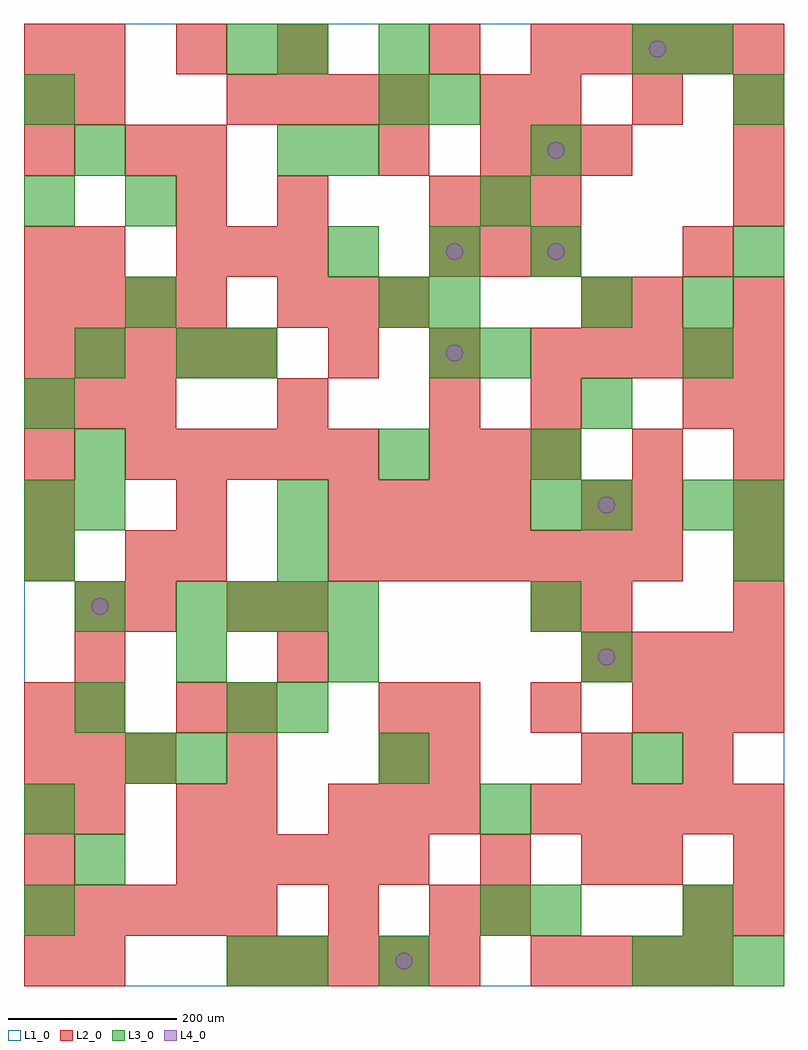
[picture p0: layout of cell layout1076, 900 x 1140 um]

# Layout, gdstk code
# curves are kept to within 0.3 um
import gdstk
lib = gdstk.Library(unit=1e-6, precision=1e-09)
def R(c, l, rs):  # rectangles x0, y0, x1, y1
    for r in rs: c.add(gdstk.rectangle(r[:2], r[2:], *l))
def A(c, l, x, y, w, h, nx, ny, dx, dy):  # array of equal rectangles
    R(c, l, [(x+i*dx, y+j*dy, x+i*dx+w, y+j*dy+h) for i in range(nx) for j in range(ny)])
def P(c, l, *ps):  # polygons
    for p in ps: c.add(gdstk.Polygon(p, *l))
L1_0 = (1, 0)
L2_0 = (2, 0)
L3_0 = (3, 0)
L4_0 = (4, 0)

layout1076 = lib.new_cell('layout1076')
R(layout1076, L1_0, [(0,0,900,1140)])
A(layout1076, L2_0, 240, 0, 60, 60, 5, 1, 60, 0)
A(layout1076, L2_0, 600, 0, 60, 60, 4, 1, 60, 0)
A(layout1076, L2_0, 0, 60, 60, 60, 5, 2, 60, 660)
A(layout1076, L2_0, 180, 120, 60, 60, 5, 1, 60, 0)
A(layout1076, L2_0, 240, 180, 60, 60, 1, 3, 0, 60)
A(layout1076, L2_0, 360, 180, 60, 60, 3, 1, 60, 0)
A(layout1076, L2_0, 600, 180, 60, 60, 5, 2, 60, 900)
A(layout1076, L2_0, 0, 240, 60, 60, 3, 2, 60, 420)
A(layout1076, L2_0, 480, 240, 60, 60, 1, 3, 0, 420)
A(layout1076, L2_0, 60, 300, 60, 60, 1, 3, 0, 60)
A(layout1076, L2_0, 480, 300, 60, 60, 3, 1, 120, 0)
A(layout1076, L2_0, 660, 360, 60, 60, 4, 2, 60, 360)
A(layout1076, L2_0, 300, 420, 60, 60, 1, 3, 0, 240)
A(layout1076, L2_0, 840, 420, 60, 60, 1, 5, 0, 60)
A(layout1076, L2_0, 360, 480, 60, 60, 7, 1, 60, 0)
A(layout1076, L2_0, 0, 540, 60, 60, 3, 1, 180, 0)
A(layout1076, L2_0, 420, 540, 60, 60, 3, 1, 60, 0)
A(layout1076, L2_0, 120, 600, 60, 60, 5, 1, 60, 0)
A(layout1076, L2_0, 480, 600, 60, 60, 3, 2, 60, 240)
A(layout1076, L2_0, 360, 720, 60, 60, 3, 1, 120, 0)
A(layout1076, L2_0, 0, 780, 60, 60, 4, 1, 60, 0)
A(layout1076, L2_0, 300, 780, 60, 60, 3, 1, 60, 0)
A(layout1076, L2_0, 180, 840, 60, 60, 3, 1, 60, 0)
A(layout1076, L2_0, 480, 900, 60, 60, 3, 1, 60, 0)
A(layout1076, L2_0, 0, 960, 60, 60, 1, 3, 0, 60)
A(layout1076, L2_0, 540, 960, 60, 60, 3, 1, 60, 0)
A(layout1076, L2_0, 240, 1020, 60, 60, 4, 1, 60, 0)
A(layout1076, L2_0, 600, 1020, 60, 60, 3, 1, 120, 0)
A(layout1076, L2_0, 60, 1080, 60, 60, 3, 1, 120, 0)
R(layout1076, L2_0, [(0,0,60,60), (60,0,120,60), (360,60,420,120), (480,60,540,120), (540,60,600,120), (780,60,840,120), (840,60,900,120), (0,120,60,180), (540,120,600,180), (660,120,720,180), (720,120,780,180), (840,120,900,180), (0,180,60,240), (60,180,120,240), (180,180,240,240), (420,240,480,300), (660,240,720,300), (780,240,840,300), (0,300,60,360), (180,300,240,360), (420,300,480,360), (780,300,840,360), (840,300,900,360), (300,360,360,420), (120,420,180,480), (240,420,300,480), (600,420,660,480), (660,420,720,480), (0,480,60,540), (120,480,180,540), (180,480,240,540), (660,540,720,600), (720,540,780,600), (0,600,60,660), (720,600,780,660), (600,660,660,720), (780,660,840,720), (660,780,720,840), (720,780,780,840), (840,780,900,840), (0,840,60,900), (60,840,120,900), (780,840,840,900), (180,900,240,960), (840,900,900,960), (120,960,180,1020), (180,960,240,1020), (420,960,480,1020), (840,960,900,1020), (60,1020,120,1080), (540,1020,600,1080)])
A(layout1076, L3_0, 720, 0, 60, 60, 3, 1, 60, 0)
A(layout1076, L3_0, 60, 300, 60, 60, 1, 3, 0, 120)
A(layout1076, L3_0, 180, 420, 60, 60, 4, 1, 60, 0)
A(layout1076, L3_0, 660, 540, 60, 60, 1, 3, 0, 120)
A(layout1076, L3_0, 360, 840, 60, 60, 3, 1, 120, 0)
R(layout1076, L3_0, [(240,0,300,60), (300,0,360,60), (420,0,480,60), (0,60,60,120), (540,60,600,120), (600,60,660,120), (780,60,840,120), (60,120,120,180), (0,180,60,240), (540,180,600,240), (120,240,180,300), (180,240,240,300), (420,240,480,300), (720,240,780,300), (240,300,300,360), (300,300,360,360), (180,360,240,420), (360,360,420,420), (660,360,720,420), (600,420,660,480), (0,480,60,540), (300,480,360,540), (840,480,900,540), (0,540,60,600), (300,540,360,600), (600,540,660,600), (780,540,840,600), (840,540,900,600), (60,600,120,660), (420,600,480,660), (600,600,660,660), (0,660,60,720), (60,720,120,780), (180,720,240,780), (240,720,300,780), (480,720,540,780), (540,720,600,780), (780,720,840,780), (120,780,180,840), (420,780,480,840), (480,780,540,840), (780,780,840,840), (840,840,900,900), (0,900,60,960), (120,900,180,960), (540,900,600,960), (60,960,120,1020), (300,960,360,1020), (360,960,420,1020), (600,960,660,1020), (0,1020,60,1080), (420,1020,480,1080), (480,1020,540,1080), (840,1020,900,1080), (240,1080,300,1140), (300,1080,360,1140), (420,1080,480,1140), (720,1080,780,1140), (780,1080,840,1140)])
P(layout1076, L4_0, [(100,450),(99.239,453.827),(97.071,457.071),(93.827,459.239),(90,460),(86.173,459.239),(82.929,457.071),(80.761,453.827),(80,450),(80.761,446.173),(82.929,442.929),(86.173,440.761),(90,440),(93.827,440.761),(97.071,442.929),(99.239,446.173)],
  [(460,30),(459.239,33.827),(457.071,37.071),(453.827,39.239),(450,40),(446.173,39.239),(442.929,37.071),(440.761,33.827),(440,30),(440.761,26.173),(442.929,22.929),(446.173,20.761),(450,20),(453.827,20.761),(457.071,22.929),(459.239,26.173)],
  [(520,750),(519.239,753.827),(517.071,757.071),(513.827,759.239),(510,760),(506.173,759.239),(502.929,757.071),(500.761,753.827),(500,750),(500.761,746.173),(502.929,742.929),(506.173,740.761),(510,740),(513.827,740.761),(517.071,742.929),(519.239,746.173)],
  [(520,870),(519.239,873.827),(517.071,877.071),(513.827,879.239),(510,880),(506.173,879.239),(502.929,877.071),(500.761,873.827),(500,870),(500.761,866.173),(502.929,862.929),(506.173,860.761),(510,860),(513.827,860.761),(517.071,862.929),(519.239,866.173)],
  [(640,870),(639.239,873.827),(637.071,877.071),(633.827,879.239),(630,880),(626.173,879.239),(622.929,877.071),(620.761,873.827),(620,870),(620.761,866.173),(622.929,862.929),(626.173,860.761),(630,860),(633.827,860.761),(637.071,862.929),(639.239,866.173)],
  [(640,990),(639.239,993.827),(637.071,997.071),(633.827,999.239),(630,1000),(626.173,999.239),(622.929,997.071),(620.761,993.827),(620,990),(620.761,986.173),(622.929,982.929),(626.173,980.761),(630,980),(633.827,980.761),(637.071,982.929),(639.239,986.173)],
  [(700,390),(699.239,393.827),(697.071,397.071),(693.827,399.239),(690,400),(686.173,399.239),(682.929,397.071),(680.761,393.827),(680,390),(680.761,386.173),(682.929,382.929),(686.173,380.761),(690,380),(693.827,380.761),(697.071,382.929),(699.239,386.173)],
  [(700,570),(699.239,573.827),(697.071,577.071),(693.827,579.239),(690,580),(686.173,579.239),(682.929,577.071),(680.761,573.827),(680,570),(680.761,566.173),(682.929,562.929),(686.173,560.761),(690,560),(693.827,560.761),(697.071,562.929),(699.239,566.173)],
  [(760,1110),(759.239,1113.827),(757.071,1117.071),(753.827,1119.239),(750,1120),(746.173,1119.239),(742.929,1117.071),(740.761,1113.827),(740,1110),(740.761,1106.173),(742.929,1102.929),(746.173,1100.761),(750,1100),(753.827,1100.761),(757.071,1102.929),(759.239,1106.173)])

lib.write_gds('layout1076.gds')
